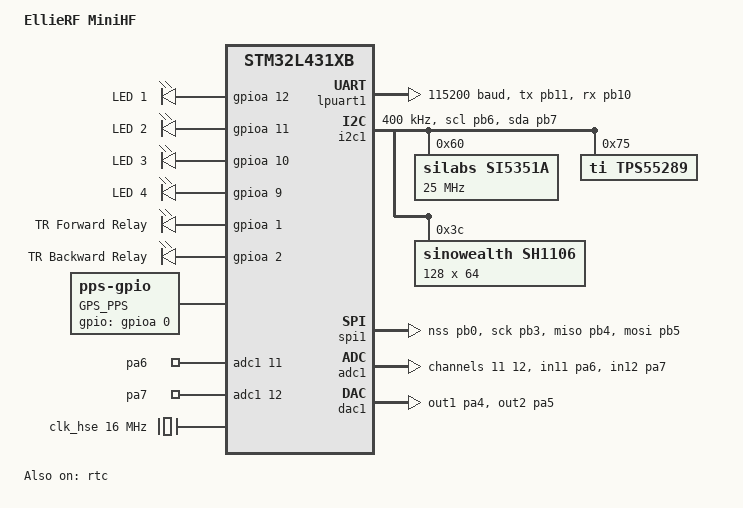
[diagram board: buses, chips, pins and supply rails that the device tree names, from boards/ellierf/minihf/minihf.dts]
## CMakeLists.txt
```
cmake_minimum_required(VERSION 3.20.0)
find_package(Zephyr REQUIRED HINTS $ENV{ZEPHYR_BASE})
project(minihf)
target_sources(app PRIVATE src/main.c
                           src/modes/encoders/cw.c
                           src/modes/encoders/rtty.c
                           src/modes/ftx.c
                           src/protocol/cobs.c
                           src/protocol/packet_parser.c
                           src/uart_handler.c
                           src/radio/radio_cmd.c
                           src/radio/radio.c
                           src/radio/tx_engine.c
                           src/hardware/tr_switch.c
                           src/hardware/oled.c
                           src/display/display.c
                           src/radio/reciever.c
                           )
target_include_directories(app PRIVATE ${CMAKE_SOURCE_DIR})
target_include_directories(app PRIVATE include)
add_subdirectory(drivers)
```

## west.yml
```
manifest:
  remotes:
    - name: zephyrproject-rtos
      url-base: https://github.com/zephyrproject-rtos
  projects:
    - name: zephyr
      remote: zephyrproject-rtos
      revision: main
      import: true
  self:
    path: .
```

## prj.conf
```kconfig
CONFIG_MAIN_STACK_SIZE=2048
CONFIG_HEAP_MEM_POOL_SIZE=4096

CONFIG_FPU=y

CONFIG_PRINTK=y
CONFIG_CONSOLE=y

CONFIG_SERIAL=y
CONFIG_UART_CONSOLE=y

CONFIG_GPIO=y

CONFIG_SPI=y

CONFIG_I2C=y
CONFIG_REGULATOR=y
CONFIG_REGULATOR_TPS55289=y

CONFIG_LOG=y
CONFIG_LOG_DEFAULT_LEVEL=3

CONFIG_CLOCK_CONTROL=y
CONFIG_CLOCK_CONTROL_SI5351A=y

CONFIG_CRC=y

CONFIG_UART_INTERRUPT_DRIVEN=y
CONFIG_RING_BUFFER=y

CONFIG_RTC=y
CONFIG_RTC_INIT_PRIORITY=50

CONFIG_REBOOT=y

CONFIG_DAC=y
CONFIG_ADC=y
CONFIG_DMA=y
CONFIG_ADC_STM32_DMA=y
CONFIG_ADC_ASYNC=y

CONFIG_DEBUG=y
CONFIG_PM=n
CONFIG_PM_DEVICE=n
CONFIG_DEBUG_THREAD_INFO=y

CONFIG_DISPLAY=y
CONFIG_SSD1306=y
CONFIG_CHARACTER_FRAMEBUFFER=y

CONFIG_CMSIS_DSP=y
CONFIG_CMSIS_DSP_TRANSFORM=y
CONFIG_CMSIS_DSP_COMPLEXMATH=y
```

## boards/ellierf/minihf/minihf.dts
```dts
/dts-v1/;
#include <st/l4/stm32l431Xb.dtsi>
#include <st/l4/stm32l431c(b-c)ux-pinctrl.dtsi>

/ {
    model = "EllieRF MiniHF";
    compatible = "ellierf,minihf", "st,stm32l431xb";

    chosen {
        zephyr,console = &lpuart1;
        zephyr,shell-uart = &lpuart1;
        zephyr,sram = &sram0;
        zephyr,flash = &flash0;
        /* Optional: add a zephyr,display chosen node if you are using a generic display driver */
        /* zephyr,display = &sh1106; */
    };

    leds {
        compatible = "gpio-leds";

        led1: led_1 {
            gpios = <&gpioa 12 GPIO_ACTIVE_HIGH>;
            label = "LED 1";
        };

        led2: led_2 {
            gpios = <&gpioa 11 GPIO_ACTIVE_HIGH>;
            label = "LED 2";
        };

        led3: led_3 {
            gpios = <&gpioa 10 GPIO_ACTIVE_HIGH>;
            label = "LED 3";
        };

        led4: led_4 {
            gpios = <&gpioa 9 GPIO_ACTIVE_HIGH>;
            label = "LED 4";
        };
    };

    tr_switch {
        compatible = "gpio-leds";
        tr_forward: tr_forward {
            gpios = <&gpioa 1 GPIO_ACTIVE_HIGH>;
            label = "TR Forward Relay";
        };
        tr_backward: tr_backward {
            gpios = <&gpioa 2 GPIO_ACTIVE_HIGH>;
            label = "TR Backward Relay";
        };
    };

    pps0: pps {
        compatible = "pps-gpio";
        gpios = <&gpioa 0 GPIO_ACTIVE_HIGH>;
        label = "GPS_PPS";
    };

    zephyr,user {
        io-channels = <&adc1 11>, <&adc1 12>;
        io-channel-names = "pa6", "pa7";
    };
};

&clk_lse {
    status = "okay";
};

&clk_lsi {
    status = "disabled"; 
};

&clk_hse {
    clock-frequency = <DT_FREQ_M(16)>;
    status = "okay";
};

&clk_hsi {
    status = "disabled"; 
};

&pll {
    div-m = <1>;
    mul-n = <20>;
    div-p = <7>;
    div-q = <2>;
    div-r = <4>;
    clocks = <&clk_hse>;
    status = "okay";
};

&rcc {
    clocks = <&pll>;
    clock-frequency = <DT_FREQ_M(80)>;
    ahb-prescaler = <1>;
    apb1-prescaler = <1>;
    apb2-prescaler = <1>;
};

&lpuart1 {
    pinctrl-0 = <&lpuart1_tx_pb11 &lpuart1_rx_pb10>;
    pinctrl-names = "default";
    current-speed = <115200>;
    status = "okay";
};

&i2c1 {
    pinctrl-0 = <&i2c1_scl_pb6 &i2c1_sda_pb7>;
    pinctrl-names = "default";
    clock-frequency = <I2C_BITRATE_FAST>;
    status = "okay";

    si5351a: si5351a@60 {
        compatible = "silabs,si5351a";
        reg = <0x60>;
        clock-frequency = <25000000>;
        crystal-load-capacitance = <10>;
        status = "okay";
    };

    tps55289: tps55289@75 {
        compatible = "ti,tps55289";
        reg = <0x75>;
        status = "okay";

        ti,external-feedback;
        ti,feedback-resistors-ohms = <274000 100000>;
        ti,rsense-mohm = <0>;

        regulator-name = "V_PA";
        regulator-min-microvolt = <5000000>;
        regulator-max-microvolt = <18000000>;
    };

    sh1106: sh1106@3c {
        compatible = "sinowealth,sh1106";
        reg = <0x3c>;
        width = <128>;
        height = <64>;
        segment-offset = <2>;
        page-offset = <0>;
        display-offset = <0>;
        multiplex-ratio = <63>;
        segment-remap;
        com-invdir;
        prechargep = <0x22>;
    };
};

&spi1 {
    pinctrl-0 = <&spi1_nss_pb0 &spi1_sck_pb3
             &spi1_miso_pb4 &spi1_mosi_pb5>;
    pinctrl-names = "default";
    status = "okay";
};

&rtc {
    clocks = <&rcc STM32_CLOCK(APB1, 28)>,
             <&rcc STM32_SRC_LSE RTC_SEL(1)>;
    status = "okay";
};

&dma1 {
    status = "okay";
};

&adc1 {
    pinctrl-0 = <&adc1_in11_pa6 &adc1_in12_pa7>;
    pinctrl-names = "default";
    st,adc-clock-source = "SYNC";
    st,adc-prescaler = <4>;
    status = "okay";

    #address-cells = <1>;
    #size-cells = <0>;

    dmas = <&dma1 1 0 0x440>; /* DMA1, Channel 1, Slot 0, Config (Priority/Direction) */
    dma-names = "dmach";

    adc_pa6: channel@b {
        reg = <11>;
        zephyr,gain = "ADC_GAIN_1";
        zephyr,reference = "ADC_REF_INTERNAL";
        zephyr,acquisition-time = <ADC_ACQ_TIME_DEFAULT>;
        zephyr,resolution = <12>;
    };

    adc_pa7: channel@c {
        reg = <12>;
        zephyr,gain = "ADC_GAIN_1";
        zephyr,reference = "ADC_REF_INTERNAL";
        zephyr,acquisition-time = <ADC_ACQ_TIME_DEFAULT>;
        zephyr,resolution = <12>;
    };
};

&dac1 {
    pinctrl-0 = <&dac1_out1_pa4 &dac1_out2_pa5>;
    pinctrl-names = "default";
    status = "okay";
};

&flash0 {
    partitions {
        compatible = "fixed-partitions";
        #address-cells = <1>;
        #size-cells = <1>;

        slot0_partition: partition@0 {
            label = "image-0";
            reg = <0x00000000 DT_SIZE_K(112)>;
        };


        storage_partition: partition@1c000 {
            label = "storage";
            reg = <0x0001c000 DT_SIZE_K(16)>;
        };
    };
};
```

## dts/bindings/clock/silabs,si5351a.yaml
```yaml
description: Silicon Labs SI5351A clock generator

compatible: "silabs,si5351a"

include: i2c-device.yaml

properties:
  reg:
    required: true

  clock-frequency:
    type: int
    required: true
    description: |
      Input reference clock frequency in Hz

  crystal-load-capacitance:
    type: int
    required: true
    description: |
      Crystal load capacitance in pF.
```

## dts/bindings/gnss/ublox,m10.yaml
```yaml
description: U-BLOX M10 GNSS Module

compatible: "u-blox,m10"

include: i2c-device.yaml
```

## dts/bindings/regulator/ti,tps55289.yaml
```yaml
description: TI TPS55289 I2C Adjustable Buck-Boost Converter

compatible: "ti,tps55289"

include: ["regulator.yaml", "i2c-device.yaml"]

properties:
  ti,external-feedback:
    type: boolean
    description: |
      Set to use the FB/INT pin for external resistor feedback.
      If false, the chip uses internal resistors.

  ti,feedback-resistors-ohms:
    type: array
    description: |
      Values of the external divider [R_top, R_bottom] in Ohms.
      Vout = Vref * (1 + R_top / R_bottom). Required if ti,external-feedback is true.

  ti,internal-fb-ratio:
    type: int
    enum: [0, 1, 2, 3]
    default: 3
    description: |
      Internal ratio if not using external feedback.
      0: 0.2256, 1: 0.1128, 2: 0.0752, 3: 0.0564 (Default)

  ti,rsense-mohm:
    type: int
    default: 0
    description: |
      Value of the sense resistor in milliohms. 
      If 0, current limiting functions will return -ENOTSUP.

  ti,slew-rate-mv-us:
    type: int
    enum: [1250, 2500, 5000, 10000]
    default: 2500

  ti,discharge-enable:
    type: boolean
    description: Enable 100mA internal discharge during shutdown.
```

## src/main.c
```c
#include <zephyr/kernel.h>
#include <zephyr/sys/printk.h>
#include <zephyr/device.h>
#include <zephyr/drivers/regulator.h>
#include "drivers/clock_control/clock_si5351a.h"
#include "config.h"
#include "radio/radio_cmd.h"
#include "stm32l431xx.h"
#include "radio/tx_engine.h"
#include "uart_handler.h"
#include <zephyr/drivers/gpio.h>
#include <stm32l4xx.h>
#include <stdio.h>
#include "hardware/tr_switch.h"
#include <zephyr/drivers/display.h>
#include <zephyr/display/cfb.h>
#include "hardware/oled.h"
#include "display/display.h"
#include "radio/reciever.h"

const struct device *regulator = DEVICE_DT_GET(DT_NODELABEL(tps55289));
const struct device *si5351a = DEVICE_DT_GET(DT_NODELABEL(si5351a));
const struct device *uart_dev = DEVICE_DT_GET(DT_NODELABEL(lpuart1));
const struct device *rtc_dev = DEVICE_DT_GET(DT_NODELABEL(rtc));

#define LED1_NODE DT_NODELABEL(led1)
#define LED2_NODE DT_NODELABEL(led2)
#define LED3_NODE DT_NODELABEL(led3)
#define LED4_NODE DT_NODELABEL(led4)

static const struct gpio_dt_spec led1 = GPIO_DT_SPEC_GET(LED1_NODE, gpios);
static const struct gpio_dt_spec led2 = GPIO_DT_SPEC_GET(LED2_NODE, gpios);
static const struct gpio_dt_spec led3 = GPIO_DT_SPEC_GET(LED3_NODE, gpios);
static const struct gpio_dt_spec led4 = GPIO_DT_SPEC_GET(LED4_NODE, gpios);

char dbg_buf[256];

static int regulator_init() {
    debug_printf("[REG] Starting regulator init");
    int tries = 0;
    while (!device_is_ready(regulator)) {
        debug_printf("[REG] Waiting for regulator (attempt %d/%d)", tries + 1, REGULATOR_TRY_COUNT);
        k_sleep(K_SECONDS(1));
        tries++;
        if (tries > REGULATOR_TRY_COUNT) {
            debug_printf("[REG] Regulator not ready after %d attempts", REGULATOR_TRY_COUNT);
            return -1;
        }
    }
    debug_printf("[REG] Regulator ready, setting voltage to 1.2V");
    int ret = regulator_set_voltage(regulator, 1200000, 1200000);
    debug_printf("[REG] set_voltage returned %d", ret);
    ret = regulator_disable(regulator);
    debug_printf("[REG] disable returned %d", ret);

    debug_printf("[REG] Regulator init complete");
    return 0;
}

static int init_si5351a() {
    debug_printf("[SI5351A] Starting init");
    int tries = 0;
    while (!device_is_ready(si5351a)) {
        debug_printf("[SI5351A] Waiting for device (attempt %d/%d)", tries + 1, SI5351A_TRY_COUNT);
        k_sleep(K_SECONDS(1));
        tries++;
        if (tries > SI5351A_TRY_COUNT) {
            debug_printf("[SI5351A] Device not ready after %d attempts", SI5351A_TRY_COUNT);
            return -1;
        }
    }
    int ret;
    k_msleep(500); // give it a moment to power up
    debug_printf("[SI5351A] setting pll registers");
    ret = si5351a_set_pll_freq(si5351a, 'A', 600000000);
    if (ret) {
        debug_printf("[SI5351A] Failed to set PLLA registers");
        return ret;
    }
    k_msleep(500);
    ret = si5351a_set_ms_freq(si5351a, 0, 500000, 0, 'A');
    if (ret) {
        debug_printf("[SI5351A] Failed to set multisynth registers");
        return ret;
    }
    ret = si5351a_reset_pll(si5351a, true, true);
    if (ret) {
        debug_printf("[SI5351A] Failed to reset PLL");
        return ret;
    }
    ret = si5351a_enable_output(si5351a, 0, true);
    if (ret) {
        debug_printf("[SI5351A] Failed to enable output");
        return ret;
    }
    return 0;
}

static int init_rtc() {
    debug_printf("[RTC] Starting RTC init");
    int tries = 0;
    while (!device_is_ready(rtc_dev)) {
        debug_printf("[RTC] Waiting for device (attempt %d/%d)", tries + 1, RTC_TRY_COUNT);
        k_sleep(K_SECONDS(1));
        tries++;
        if (tries > RTC_TRY_COUNT) {
            debug_printf("[RTC] Device not ready after %d attempts", RTC_TRY_COUNT);
            return -1;
        }
    }
    debug_printf("[RTC] Device ready, init complete");

    return 0;
}

void enable_debug_in_pm() {
    DBGMCU->CR |= DBGMCU_CR_DBG_SLEEP | DBGMCU_CR_DBG_STOP | DBGMCU_CR_DBG_STANDBY;
    DBGMCU->APB1FZR1 |= DBGMCU_APB1FZR1_DBG_IWDG_STOP 
                     | DBGMCU_APB1FZR1_DBG_WWDG_STOP 
                     | DBGMCU_APB1FZR1_DBG_RTC_STOP;
}

int main(void) {
    k_busy_wait(1000000);

    enable_debug_in_pm();

    uart_handler_init();

    debug_printf("=== minihf boot ===");

    if (init_oled() < 0) {
        debug_printf("[MAIN] OLED init failed, continuing without it");
    }

    display_manager_init();

    if (init_si5351a() < 0) {
        debug_printf("[MAIN] SI5351A init failed, aborting");
        return -1;
    }

    if (regulator_init() < 0) {
        debug_printf("[MAIN] Regulator init failed, continuing without it");
    }

    if (init_rtc() < 0) {
        debug_printf("[MAIN] RTC init failed, aborting");
        return -1;
    }

    if (tr_switch_init() < 0) {
        debug_printf("[MAIN] TR switch init failed, aborting");
        return -1;
    }

    receiver_init();

    debug_printf("[MAIN] Initializing TX engine");
    tx_engine_init();

    debug_printf("[MAIN] Configuring LEDs");
    gpio_pin_configure_dt(&led1, GPIO_OUTPUT_INACTIVE);
    gpio_pin_configure_dt(&led2, GPIO_OUTPUT_INACTIVE);
    gpio_pin_configure_dt(&led3, GPIO_OUTPUT_INACTIVE);
    gpio_pin_configure_dt(&led4, GPIO_OUTPUT_INACTIVE);

    gpio_pin_set_dt(&led1, 0);
    gpio_pin_set_dt(&led2, 0);
    gpio_pin_set_dt(&led3, 0);
    gpio_pin_set_dt(&led4, 0);

    debug_printf("[MAIN] Init complete, entering main loop");

    display_set_scene(DISPLAY_SCENE_SPECTRUM);
    receiver_start();

    while (1) {
        gpio_pin_toggle_dt(&led1);
        gpio_pin_toggle_dt(&led2);
        gpio_pin_toggle_dt(&led3);
        gpio_pin_toggle_dt(&led4);

        si5351a_update_status(si5351a);
        struct si5351a_data *clk_data = (struct si5351a_data *)si5351a->data;
        debug_printf("[CLK] SYS_INIT=%u LOL_A=%u LOL_B=%u LOS=%u REV=%u",
                     clk_data->dev_status.SYS_INIT,
                     clk_data->dev_status.LOL_A,
                     clk_data->dev_status.LOL_B,
                     clk_data->dev_status.LOS,
                     clk_data->dev_status.REVID);
        
        k_sleep(K_SECONDS(1));
    }

    return 0;
}
```

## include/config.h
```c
#ifndef SRC_CONFIG_H
#define SRC_CONFIG_H

#include <zephyr/device.h>
#include <zephyr/sys/printk.h>
#include "radio/radio_cmd.h"

#define REGULATOR_TRY_COUNT 5
#define SI5351A_TRY_COUNT 5
#define RTC_TRY_COUNT 5
#define OLED_TRY_COUNT 1

#define FONT 0

extern const struct device *regulator;
extern const struct device *si5351a;
extern const struct device *uart_dev;
extern const struct device *rtc_dev;

extern char dbg_buf[256];
#define debug_printf(fmt, ...) do { \
    snprintf(dbg_buf, sizeof(dbg_buf), fmt, ##__VA_ARGS__); \
    send_debug_message(dbg_buf); \
} while(0)

#endif // SRC_CONFIG_H
```

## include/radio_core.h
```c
#ifndef RADIO_MODE_H
#define RADIO_MODE_H

#include <stdint.h>
#include <stdbool.h>
#include <stddef.h>

typedef struct {
    float freq_offset_hz;
    uint32_t duration_us;
    bool     tx_on;
} tx_symbol_t;

typedef struct {
    char* mode_name;
    uint32_t base_freq_hz;
    
    tx_symbol_t* symbols; 
    size_t total_symbols;
    
    // Runtime state
    size_t current_index;
    bool repeat;
} tx_sequence_t;

#endif // RADIO_MODE_H
```

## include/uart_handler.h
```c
#ifndef UART_HANDLER_H
#define UART_HANDLER_H

#include <stdint.h>
#include <stddef.h>

void uart_handler_init();
int send_uart_data(const uint8_t *data, size_t length);

#endif // UART_HANDLER_H
```

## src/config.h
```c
#ifndef SRC_CONFIG_H
#define SRC_CONFIG_H
#define REGULATOR_TRY_COUNT 5
#define SI5351A_TRY_COUNT 5

#endif // SRC_CONFIG_H
```

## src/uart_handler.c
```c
#include "uart_handler.h"
#include "config.h"
#include "protocol/packet_parser.h"
#include "protocol/cobs.h"
#include <zephyr/sys/ring_buffer.h>
#include <zephyr/drivers/uart.h>
#include <zephyr/kernel.h>
#include <string.h>

#define RING_BUF_SIZE    512
#define DECODED_PKT_MAX  300
#define COBS_BUF_MAX (DECODED_PKT_MAX + (DECODED_PKT_MAX / 254) + 1)

RING_BUF_DECLARE(rx_ring_buf, RING_BUF_SIZE);
RING_BUF_DECLARE(tx_ring_buf, RING_BUF_SIZE);

static uint8_t isr_cobs_buf[COBS_BUF_MAX];
static uint8_t isr_decoded_buf[DECODED_PKT_MAX];

#define RX_MSG_SIZE (sizeof(uint16_t) + DECODED_PKT_MAX)
#define RX_QUEUE_DEPTH 4
K_MSGQ_DEFINE(rx_pkt_msgq, RX_MSG_SIZE, RX_QUEUE_DEPTH, 4);

static struct k_work rx_dispatch_work;

static void rx_dispatch_handler(struct k_work *work) {
    uint8_t msg[RX_MSG_SIZE];
    while (k_msgq_get(&rx_pkt_msgq, msg, K_NO_WAIT) == 0) {
        uint16_t len = (uint16_t)msg[0] | ((uint16_t)msg[1] << 8);
        parse_dispatch_packet(&msg[sizeof(uint16_t)], len);
    }
}

static void uart_isr(const struct device *dev, void *user_data) {
    if (!uart_irq_update(dev)) {
        return;
    }

    uint8_t byte;

    while (uart_irq_rx_ready(dev)) {
        uart_fifo_read(dev, &byte, 1);

        if (byte == 0x00) {
            uint32_t len_in_buf = ring_buf_get(&rx_ring_buf, isr_cobs_buf,
                                               sizeof(isr_cobs_buf));
            if (len_in_buf > 0) {
                int decoded_len = cobs_decode(isr_cobs_buf, len_in_buf,
                                              isr_decoded_buf);
                if (decoded_len > 0 &&
                    (size_t)decoded_len <= DECODED_PKT_MAX) {
                    uint8_t msg[RX_MSG_SIZE];
                    msg[0] = decoded_len & 0xFF;
                    msg[1] = (decoded_len >> 8) & 0xFF;
                    memcpy(&msg[sizeof(uint16_t)], isr_decoded_buf,
                           decoded_len);
                    if (k_msgq_put(&rx_pkt_msgq, msg, K_NO_WAIT) == 0) {
                        k_work_submit(&rx_dispatch_work);
                    }
                }
            }
        } else {
            ring_buf_put(&rx_ring_buf, &byte, 1);
        }
    }

    if (uart_irq_tx_ready(dev)) {
        uint8_t *data_ptr;
        uint32_t len_in_buf;

        len_in_buf = ring_buf_get_claim(&tx_ring_buf, &data_ptr, 64);

        if (len_in_buf > 0) {
            int written = uart_fifo_fill(dev, data_ptr, len_in_buf);
            
            ring_buf_get_finish(&tx_ring_buf, written);
        } else {
            uart_irq_tx_disable(dev);
        }
    }
}

void uart_handler_init() {
    k_work_init(&rx_dispatch_work, rx_dispatch_handler);
    uart_irq_callback_set(uart_dev, uart_isr);
    uart_irq_rx_enable(uart_dev);
}

int send_uart_data(const uint8_t *data, size_t length) {
    uint32_t written = ring_buf_put(&tx_ring_buf, data, length);
    uart_irq_tx_enable(uart_dev);

    return written;
}
```
